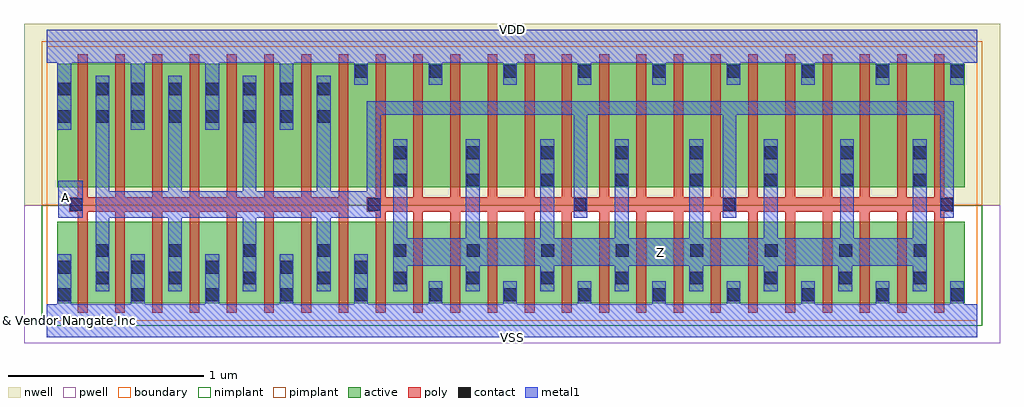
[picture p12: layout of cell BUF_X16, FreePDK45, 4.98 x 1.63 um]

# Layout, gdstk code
import gdstk
lib = gdstk.Library(unit=1e-6, precision=1e-10)
def R(c, l, rs):  # rectangles x0, y0, x1, y1
    for r in rs: c.add(gdstk.rectangle(r[:2], r[2:], *l))
def A(c, l, x, y, w, h, nx, ny, dx, dy):  # array of equal rectangles
    R(c, l, [(x+i*dx, y+j*dy, x+i*dx+w, y+j*dy+h) for i in range(nx) for j in range(ny)])
def P(c, l, *ps):  # polygons
    for p in ps: c.add(gdstk.Polygon(p, *l))
active = (1, 0)
pwell = (2, 0)
nwell = (3, 0)
nimplant = (4, 0)
pimplant = (5, 0)
poly = (9, 0)
contact = (10, 0)
metal1 = (11, 0)
boundary = (235, 0)

buf_x16 = lib.new_cell('BUF_X16')
R(buf_x16, active, [(0.055,0.09,4.685,0.505), (0.055,0.68,4.685,1.31)])
R(buf_x16, pwell, [(-0.115,-0.115,4.865,0.59)])
R(buf_x16, nwell, [(-0.115,0.59,4.865,1.515)])
R(buf_x16, nimplant, [(-0.025,-0.025,4.775,0.59)])
R(buf_x16, pimplant, [(-0.025,0.59,4.775,1.425)])
P(buf_x16, poly, [(0.16,0.04),(0.16,0.555),(0.115,0.555),(0.115,0.63),(0.16,0.63),(0.16,1.36),(0.21,1.36),(0.21,0.63),(0.35,0.63),(0.35,1.36),(0.4,1.36),(0.4,0.63),(0.54,0.63),(0.54,1.36),(0.59,1.36),(0.59,0.63),(0.73,0.63),(0.73,1.36),(0.78,1.36),(0.78,0.63),(0.92,0.63),(0.92,1.36),(0.97,1.36),(0.97,0.63),(1.11,0.63),(1.11,1.36),(1.16,1.36),(1.16,0.63),(1.3,0.63),(1.3,1.36),(1.35,1.36),(1.35,0.63),(1.49,0.63),(1.49,1.36),(1.54,1.36),(1.54,0.04),(1.49,0.04),(1.49,0.555),(1.35,0.555),(1.35,0.04),(1.3,0.04),(1.3,0.555),(1.16,0.555),(1.16,0.04),(1.11,0.04),(1.11,0.555),(0.97,0.555),(0.97,0.04),(0.92,0.04),(0.92,0.555),(0.78,0.555),(0.78,0.04),(0.73,0.04),(0.73,0.555),(0.59,0.555),(0.59,0.04),(0.54,0.04),(0.54,0.555),(0.4,0.555),(0.4,0.04),(0.35,0.04),(0.35,0.555),(0.21,0.555),(0.21,0.04)],
  [(1.68,0.04),(1.68,0.555),(1.635,0.555),(1.635,0.63),(1.68,0.63),(1.68,1.36),(1.73,1.36),(1.73,0.63),(1.87,0.63),(1.87,1.36),(1.92,1.36),(1.92,0.63),(2.06,0.63),(2.06,1.36),(2.11,1.36),(2.11,0.63),(2.25,0.63),(2.25,1.36),(2.3,1.36),(2.3,0.63),(2.44,0.63),(2.44,1.36),(2.49,1.36),(2.49,0.63),(2.63,0.63),(2.63,1.36),(2.68,1.36),(2.68,0.63),(2.82,0.63),(2.82,1.36),(2.87,1.36),(2.87,0.63),(3.01,0.63),(3.01,1.36),(3.06,1.36),(3.06,0.63),(3.2,0.63),(3.2,1.36),(3.25,1.36),(3.25,0.63),(3.39,0.63),(3.39,1.36),(3.44,1.36),(3.44,0.63),(3.58,0.63),(3.58,1.36),(3.63,1.36),(3.63,0.63),(3.77,0.63),(3.77,1.36),(3.82,1.36),(3.82,0.63),(3.96,0.63),(3.96,1.36),(4.01,1.36),(4.01,0.63),(4.15,0.63),(4.15,1.36),(4.2,1.36),(4.2,0.63),(4.34,0.63),(4.34,1.36),(4.39,1.36),(4.39,0.63),(4.53,0.63),(4.53,1.36),(4.58,1.36),(4.58,0.63),(4.63,0.63),(4.63,0.555),(4.58,0.555),(4.58,0.04),(4.53,0.04),(4.53,0.555),(4.39,0.555),(4.39,0.04),(4.34,0.04),(4.34,0.555),(4.2,0.555),(4.2,0.04),(4.15,0.04),(4.15,0.555),(4.01,0.555),(4.01,0.04),(3.96,0.04),(3.96,0.555),(3.82,0.555),(3.82,0.04),(3.77,0.04),(3.77,0.555),(3.63,0.555),(3.63,0.04),(3.58,0.04),(3.58,0.555),(3.44,0.555),(3.44,0.04),(3.39,0.04),(3.39,0.555),(3.25,0.555),(3.25,0.04),(3.2,0.04),(3.2,0.555),(3.06,0.555),(3.06,0.04),(3.01,0.04),(3.01,0.555),(2.87,0.555),(2.87,0.04),(2.82,0.04),(2.82,0.555),(2.68,0.555),(2.68,0.04),(2.63,0.04),(2.63,0.555),(2.49,0.555),(2.49,0.04),(2.44,0.04),(2.44,0.555),(2.3,0.555),(2.3,0.04),(2.25,0.04),(2.25,0.555),(2.11,0.555),(2.11,0.04),(2.06,0.04),(2.06,0.555),(1.92,0.555),(1.92,0.04),(1.87,0.04),(1.87,0.555),(1.73,0.555),(1.73,0.04)])
A(buf_x16, contact, 0.435, 0.1, 0.065, 0.065, 12, 1, 0.38, 0)
A(buf_x16, contact, 0.625, 0.185, 0.065, 0.065, 3, 2, 0.38, 0.14)
A(buf_x16, contact, 2.145, 0.185, 0.065, 0.065, 7, 2, 0.38, 0.14)
A(buf_x16, contact, 0.435, 0.24, 0.065, 0.065, 4, 1, 0.38, 0)
A(buf_x16, contact, 2.145, 0.685, 0.065, 0.065, 5, 2, 0.38, 0.14)
A(buf_x16, contact, 0.435, 1.01, 0.065, 0.065, 6, 2, 0.19, 0.14)
A(buf_x16, contact, 1.575, 1.24, 0.065, 0.065, 9, 1, 0.38, 0)
R(buf_x16, contact, [(0.06,0.1,0.125,0.165), (0.25,0.185,0.315,0.25), (1.77,0.185,1.835,0.25), (0.06,0.24,0.125,0.305), (0.25,0.325,0.315,0.39), (1.77,0.325,1.835,0.39), (0.12,0.56,0.185,0.625), (1.64,0.56,1.705,0.625), (2.69,0.56,2.755,0.625), (3.45,0.56,3.515,0.625), (4.56,0.56,4.625,0.625), (1.77,0.685,1.835,0.75), (4.05,0.685,4.115,0.75), (4.425,0.685,4.49,0.75), (1.77,0.825,1.835,0.89), (4.05,0.825,4.115,0.89), (4.425,0.825,4.49,0.89), (0.06,1.01,0.125,1.075), (0.25,1.01,0.315,1.075), (0.06,1.15,0.125,1.215), (0.25,1.15,0.315,1.215)])
R(buf_x16, metal1, [(0.06,0.525,0.185,0.715)])
P(buf_x16, metal1, [(1.77,0.15),(1.77,0.925),(1.84,0.925),(1.84,0.42),(2.14,0.42),(2.14,0.925),(2.21,0.925),(2.21,0.42),(2.52,0.42),(2.52,0.925),(2.59,0.925),(2.59,0.42),(2.9,0.42),(2.9,0.925),(2.97,0.925),(2.97,0.42),(3.28,0.42),(3.28,0.925),(3.35,0.925),(3.35,0.42),(3.66,0.42),(3.66,0.925),(3.73,0.925),(3.73,0.42),(4.05,0.42),(4.05,0.925),(4.12,0.925),(4.12,0.42),(4.42,0.42),(4.42,0.925),(4.49,0.925),(4.49,0.15),(4.42,0.15),(4.42,0.28),(4.11,0.28),(4.11,0.15),(4.04,0.15),(4.04,0.28),(3.73,0.28),(3.73,0.15),(3.66,0.15),(3.66,0.28),(3.35,0.28),(3.35,0.15),(3.28,0.15),(3.28,0.28),(2.97,0.28),(2.97,0.15),(2.9,0.15),(2.9,0.28),(2.59,0.28),(2.59,0.15),(2.52,0.15),(2.52,0.28),(2.21,0.28),(2.21,0.15),(2.14,0.15),(2.14,0.28),(1.84,0.28),(1.84,0.15)],
  [(0.25,0.15),(0.25,1.25),(0.32,1.25),(0.32,0.66),(0.62,0.66),(0.62,1.25),(0.69,1.25),(0.69,0.66),(1,0.66),(1,1.25),(1.07,1.25),(1.07,0.66),(1.38,0.66),(1.38,1.25),(1.45,1.25),(1.45,0.66),(1.635,0.66),(1.635,1.12),(4.63,1.12),(4.63,0.525),(4.56,0.525),(4.56,1.05),(3.52,1.05),(3.52,0.525),(3.45,0.525),(3.45,1.05),(2.76,1.05),(2.76,0.525),(2.69,0.525),(2.69,1.05),(1.705,1.05),(1.705,0.525),(1.45,0.525),(1.45,0.15),(1.38,0.15),(1.38,0.525),(1.07,0.525),(1.07,0.15),(1,0.15),(1,0.525),(0.69,0.525),(0.69,0.15),(0.62,0.15),(0.62,0.525),(0.32,0.525),(0.32,0.15)],
  [(0,-0.085),(0,0.085),(0.055,0.085),(0.055,0.34),(0.125,0.34),(0.125,0.085),(0.43,0.085),(0.43,0.34),(0.5,0.34),(0.5,0.085),(0.81,0.085),(0.81,0.34),(0.88,0.34),(0.88,0.085),(1.19,0.085),(1.19,0.34),(1.26,0.34),(1.26,0.085),(1.57,0.085),(1.57,0.34),(1.64,0.34),(1.64,0.085),(1.95,0.085),(1.95,0.2),(2.02,0.2),(2.02,0.085),(2.33,0.085),(2.33,0.2),(2.4,0.2),(2.4,0.085),(2.71,0.085),(2.71,0.2),(2.78,0.2),(2.78,0.085),(3.09,0.085),(3.09,0.2),(3.16,0.2),(3.16,0.085),(3.47,0.085),(3.47,0.2),(3.54,0.2),(3.54,0.085),(3.85,0.085),(3.85,0.2),(3.92,0.2),(3.92,0.085),(4.23,0.085),(4.23,0.2),(4.3,0.2),(4.3,0.085),(4.61,0.085),(4.61,0.2),(4.68,0.2),(4.68,0.085),(4.75,0.085),(4.75,-0.085)],
  [(0.055,0.975),(0.055,1.315),(0,1.315),(0,1.485),(4.75,1.485),(4.75,1.315),(4.68,1.315),(4.68,1.205),(4.61,1.205),(4.61,1.315),(4.3,1.315),(4.3,1.205),(4.23,1.205),(4.23,1.315),(3.92,1.315),(3.92,1.205),(3.85,1.205),(3.85,1.315),(3.54,1.315),(3.54,1.205),(3.47,1.205),(3.47,1.315),(3.16,1.315),(3.16,1.205),(3.09,1.205),(3.09,1.315),(2.78,1.315),(2.78,1.205),(2.71,1.205),(2.71,1.315),(2.4,1.315),(2.4,1.205),(2.33,1.205),(2.33,1.315),(2.02,1.315),(2.02,1.205),(1.95,1.205),(1.95,1.315),(1.64,1.315),(1.64,1.205),(1.57,1.205),(1.57,1.315),(1.26,1.315),(1.26,0.975),(1.19,0.975),(1.19,1.315),(0.88,1.315),(0.88,0.975),(0.81,0.975),(0.81,1.315),(0.5,1.315),(0.5,0.975),(0.43,0.975),(0.43,1.315),(0.125,1.315),(0.125,0.975)])
R(buf_x16, boundary, [(0,0,4.75,1.4)])
buf_x16.add(gdstk.Label('A', (0.095,0.63), layer=11, texttype=0))
buf_x16.add(gdstk.Label('VDD', (2.375,1.485), layer=11, texttype=0))
buf_x16.add(gdstk.Label('VSS', (2.375,-0.085), layer=11, texttype=0))
buf_x16.add(gdstk.Label('Z', (3.135,0.35), layer=11, texttype=0))
buf_x16.add(gdstk.Label('& Vendor Nangate Inc', (0,0), layer=63, texttype=63))
buf_x16.add(gdstk.Label('& Product Open Cell Library', (0,0), layer=63, texttype=63))
buf_x16.add(gdstk.Label('& Version 2010_12', (0,0), layer=63, texttype=63))
buf_x16.add(gdstk.Label('& Instance BUF_X16', (0,0), layer=63, texttype=63))

lib.write_gds('BUF_X16.gds')
